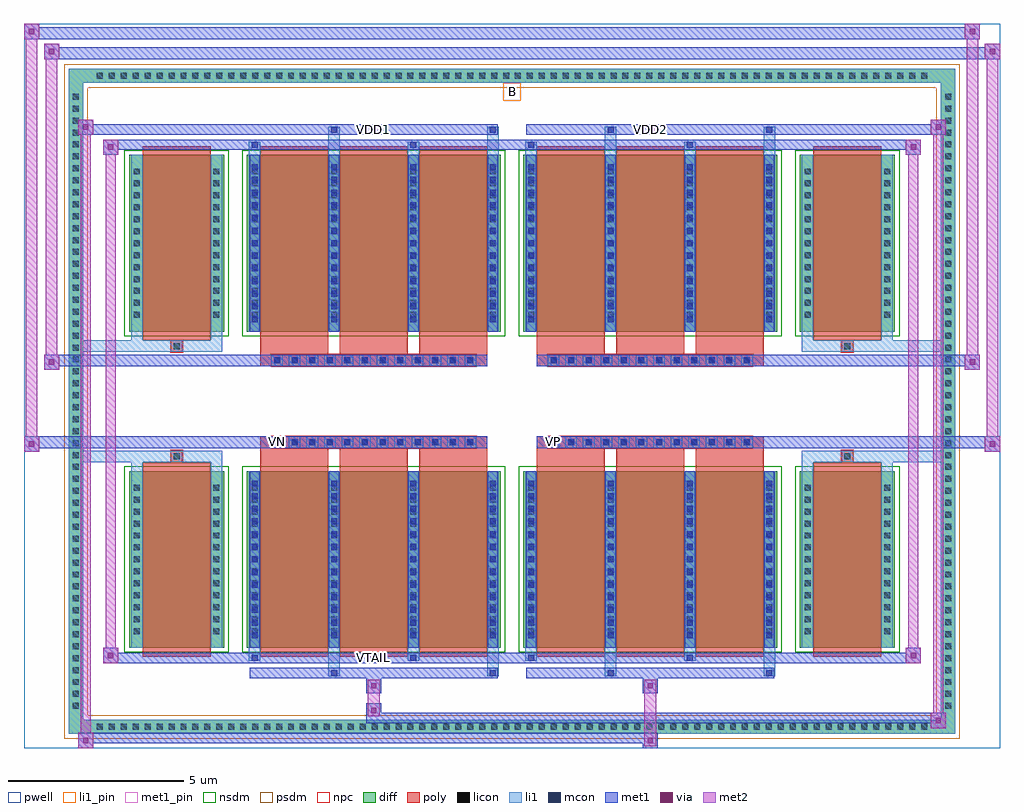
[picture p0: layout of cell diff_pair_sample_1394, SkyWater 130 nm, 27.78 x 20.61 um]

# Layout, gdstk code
import gdstk
lib = gdstk.Library(unit=1e-6, precision=5e-09)
def R(c, l, rs):  # rectangles x0, y0, x1, y1
    for r in rs: c.add(gdstk.rectangle(r[:2], r[2:], *l))
def A(c, l, x, y, w, h, nx, ny, dx, dy):  # array of equal rectangles
    R(c, l, [(x+i*dx, y+j*dy, x+i*dx+w, y+j*dy+h) for i in range(nx) for j in range(ny)])
def P(c, l, *ps):  # polygons
    for p in ps: c.add(gdstk.Polygon(p, *l))
pwell = (64, 44)
diff = (65, 20)
poly = (66, 20)
licon = (66, 44)
li1_pin = (67, 16)
li1 = (67, 20)
mcon = (67, 44)
met1_pin = (68, 16)
met1 = (68, 20)
via = (68, 44)
met2 = (69, 20)
nsdm = (93, 44)
psdm = (94, 20)
npc = (95, 20)

diff_pair_sample_1394 = lib.new_cell('diff_pair_sample_1394')
R(diff_pair_sample_1394, pwell, [(-13.89,-9.87,13.89,10.74), (-11.21,-8.06,-0.01,-0.8), (0.01,-8.06,11.21,-0.8), (-11.21,0.8,-0.01,8.06), (0.01,0.8,11.21,8.06)])
A(diff_pair_sample_1394, diff, -11.935, -9.47, 0.41, 0.41, 70, 2, 0.34, 18.53)
A(diff_pair_sample_1394, diff, -12.62, -8.875, 0.41, 0.41, 1, 52, 0, 0.34)
A(diff_pair_sample_1394, diff, 12.21, -8.875, 0.41, 0.41, 1, 52, 0, 0.34)
R(diff_pair_sample_1394, diff, [(-11.935,-9.47,11.935,-9.06), (-12.62,-8.875,-12.21,8.875), (12.21,-8.875,12.62,8.875), (-10.9,-7.015,-8.19,-1.985), (-7.55,-7.015,-0.32,-1.985), (0.32,-7.015,7.55,-1.985), (8.19,-7.015,10.9,-1.985), (-10.9,1.985,-8.19,7.015), (-7.55,1.985,-0.32,7.015), (0.32,1.985,7.55,7.015), (8.19,1.985,10.9,7.015), (-11.935,9.06,11.935,9.47)])
P(diff_pair_sample_1394, diff, [(12.62,9.47),(-12.62,9.47),(-12.62,-9.06),(-12.21,-9.06),(-12.21,9.06),(12.21,9.06),(12.21,-9.06),(-12.21,-9.06),(-12.62,-9.06),(-12.62,-9.47),(12.62,-9.47)])
A(diff_pair_sample_1394, poly, -7.16, -7.265, 1.93, 5.53, 3, 2, 2.26, 9)
A(diff_pair_sample_1394, poly, 0.71, -7.265, 1.93, 5.53, 3, 2, 2.26, 9)
A(diff_pair_sample_1394, poly, -7.16, -1.735, 1.93, 0.405, 3, 2, 2.26, 3.065)
A(diff_pair_sample_1394, poly, 0.71, -1.735, 1.93, 0.405, 3, 2, 2.26, 3.065)
A(diff_pair_sample_1394, poly, -6.85, -1.33, 0.33, 0.33, 12, 2, 0.5, 2.33)
A(diff_pair_sample_1394, poly, 1.02, -1.33, 0.33, 0.33, 12, 2, 0.5, 2.33)
R(diff_pair_sample_1394, poly, [(-10.51,-7.265,-8.58,-1.735), (8.58,-7.265,10.51,-1.735), (-9.71,-1.735,-9.38,-1.405), (-9.71,-1.735,-9.38,-1.405), (9.38,-1.735,9.71,-1.405), (9.38,-1.735,9.71,-1.405), (-7.16,-1.33,-0.71,-1), (0.71,-1.33,7.16,-1), (-7.16,1,-0.71,1.33), (0.71,1,7.16,1.33), (-9.71,1.405,-9.38,1.735), (-9.71,1.405,-9.38,1.735), (9.38,1.405,9.71,1.735), (9.38,1.405,9.71,1.735), (-10.51,1.735,-8.58,7.265), (8.58,1.735,10.51,7.265)])
A(diff_pair_sample_1394, licon, -11.815, -9.35, 0.17, 0.17, 70, 2, 0.34, 18.53)
A(diff_pair_sample_1394, licon, -12.5, -8.755, 0.17, 0.17, 1, 52, 0, 0.34)
A(diff_pair_sample_1394, licon, 12.33, -8.755, 0.17, 0.17, 1, 52, 0, 0.34)
A(diff_pair_sample_1394, licon, -10.76, -6.625, 0.17, 0.17, 1, 13, 0, 0.34)
A(diff_pair_sample_1394, licon, -8.5, -6.625, 0.17, 0.17, 1, 13, 0, 0.34)
A(diff_pair_sample_1394, licon, -7.41, -6.625, 0.17, 0.17, 4, 13, 2.26, 0.34)
A(diff_pair_sample_1394, licon, 0.46, -6.625, 0.17, 0.17, 4, 13, 2.26, 0.34)
A(diff_pair_sample_1394, licon, 8.33, -6.625, 0.17, 0.17, 1, 13, 0, 0.34)
A(diff_pair_sample_1394, licon, 10.59, -6.625, 0.17, 0.17, 1, 13, 0, 0.34)
A(diff_pair_sample_1394, licon, -6.77, -1.25, 0.17, 0.17, 12, 2, 0.5, 2.33)
A(diff_pair_sample_1394, licon, 1.1, -1.25, 0.17, 0.17, 12, 2, 0.5, 2.33)
A(diff_pair_sample_1394, licon, -10.76, 2.375, 0.17, 0.17, 1, 13, 0, 0.34)
A(diff_pair_sample_1394, licon, -8.5, 2.375, 0.17, 0.17, 1, 13, 0, 0.34)
A(diff_pair_sample_1394, licon, -7.41, 2.375, 0.17, 0.17, 4, 13, 2.26, 0.34)
A(diff_pair_sample_1394, licon, 0.46, 2.375, 0.17, 0.17, 4, 13, 2.26, 0.34)
A(diff_pair_sample_1394, licon, 8.33, 2.375, 0.17, 0.17, 1, 13, 0, 0.34)
A(diff_pair_sample_1394, licon, 10.59, 2.375, 0.17, 0.17, 1, 13, 0, 0.34)
R(diff_pair_sample_1394, licon, [(-9.63,-1.655,-9.46,-1.485), (9.46,-1.655,9.63,-1.485), (-9.63,1.485,-9.46,1.655), (9.46,1.485,9.63,1.655)])
R(diff_pair_sample_1394, li1_pin, [(-0.25,8.56,0.25,9.06)])
A(diff_pair_sample_1394, li1, -11.895, -9.43, 0.33, 0.33, 70, 2, 0.34, 18.53)
A(diff_pair_sample_1394, li1, -12.58, -8.835, 0.33, 0.33, 1, 52, 0, 0.34)
A(diff_pair_sample_1394, li1, 12.25, -8.835, 0.33, 0.33, 1, 52, 0, 0.34)
A(diff_pair_sample_1394, li1, -7.49, -7.015, 0.33, 5.03, 4, 2, 2.26, 9)
A(diff_pair_sample_1394, li1, 0.38, -7.015, 0.33, 5.03, 4, 2, 2.26, 9)
A(diff_pair_sample_1394, li1, -7.41, -6.745, 0.17, 0.17, 4, 13, 2.26, 0.36)
A(diff_pair_sample_1394, li1, -7.41, -6.745, 0.17, 4.49, 4, 2, 2.26, 9)
A(diff_pair_sample_1394, li1, 0.46, -6.745, 0.17, 0.17, 4, 13, 2.26, 0.36)
A(diff_pair_sample_1394, li1, 0.46, -6.745, 0.17, 4.49, 4, 2, 2.26, 9)
A(diff_pair_sample_1394, li1, -10.84, -6.705, 0.33, 0.33, 1, 13, 0, 0.34)
A(diff_pair_sample_1394, li1, -8.58, -6.705, 0.33, 0.33, 1, 13, 0, 0.34)
A(diff_pair_sample_1394, li1, -7.49, -6.705, 0.33, 0.33, 4, 13, 2.26, 0.34)
A(diff_pair_sample_1394, li1, 0.38, -6.705, 0.33, 0.33, 4, 13, 2.26, 0.34)
A(diff_pair_sample_1394, li1, 8.25, -6.705, 0.33, 0.33, 1, 13, 0, 0.34)
A(diff_pair_sample_1394, li1, 10.51, -6.705, 0.33, 0.33, 1, 13, 0, 0.34)
A(diff_pair_sample_1394, li1, -6.85, -1.33, 0.33, 0.33, 12, 2, 0.5, 2.33)
A(diff_pair_sample_1394, li1, 1.02, -1.33, 0.33, 0.33, 12, 2, 0.5, 2.33)
A(diff_pair_sample_1394, li1, -7.41, 2.255, 0.17, 0.17, 4, 13, 2.26, 0.36)
A(diff_pair_sample_1394, li1, 0.46, 2.255, 0.17, 0.17, 4, 13, 2.26, 0.36)
A(diff_pair_sample_1394, li1, -10.84, 2.295, 0.33, 0.33, 1, 13, 0, 0.34)
A(diff_pair_sample_1394, li1, -8.58, 2.295, 0.33, 0.33, 1, 13, 0, 0.34)
A(diff_pair_sample_1394, li1, -7.49, 2.295, 0.33, 0.33, 4, 13, 2.26, 0.34)
A(diff_pair_sample_1394, li1, 0.38, 2.295, 0.33, 0.33, 4, 13, 2.26, 0.34)
A(diff_pair_sample_1394, li1, 8.25, 2.295, 0.33, 0.33, 1, 13, 0, 0.34)
A(diff_pair_sample_1394, li1, 10.51, 2.295, 0.33, 0.33, 1, 13, 0, 0.34)
R(diff_pair_sample_1394, li1, [(-12.62,-9.47,-12.21,-9.06), (-12.62,-9.47,-12.21,-9.06), (-12.21,-9.47,12.21,-9.06), (12.21,-9.47,12.62,-9.06), (12.21,-9.47,12.62,-9.06), (-12.62,-9.06,-12.21,9.06), (12.21,-9.06,12.62,9.06), (-5.23,-7.82,-4.9,-7.015), (-5.15,-7.82,-4.98,-7.65), (-0.71,-7.82,-0.38,-7.015), (-0.63,-7.82,-0.46,-7.65), (2.64,-7.82,2.97,-7.015), (2.72,-7.82,2.89,-7.65), (7.16,-7.82,7.49,-7.015), (7.24,-7.82,7.41,-7.65), (-7.49,-7.39,-7.16,-7.015), (-7.41,-7.39,-7.24,-7.22), (-2.97,-7.39,-2.64,-7.015), (-2.89,-7.39,-2.72,-7.22), (0.38,-7.39,0.71,-7.015), (0.46,-7.39,0.63,-7.22), (4.9,-7.39,5.23,-7.015), (4.98,-7.39,5.15,-7.22), (-10.84,-7.015,-10.51,-1.985), (-8.58,-7.015,-8.25,-1.985), (8.25,-7.015,8.58,-1.985), (10.51,-7.015,10.84,-1.985), (-10.84,-1.985,-10.51,-1.405), (-8.58,-1.985,-8.25,-1.405), (8.25,-1.985,8.58,-1.405), (10.51,-1.985,10.84,-1.405), (-12.62,-1.735,-9.71,-1.405), (-10.84,-1.735,-9.71,-1.405), (-9.71,-1.735,-9.38,-1.405), (-9.38,-1.735,-8.25,-1.405), (8.25,-1.735,9.38,-1.405), (9.38,-1.735,9.71,-1.405), (9.38,-1.735,12.62,-1.405), (9.71,-1.735,10.84,-1.405), (-12.62,1.405,-9.71,1.735), (-10.84,1.405,-9.71,1.735), (-10.84,1.405,-10.51,1.985), (-9.71,1.405,-9.38,1.735), (-9.38,1.405,-8.25,1.735), (-8.58,1.405,-8.25,1.985), (8.25,1.405,9.38,1.735), (8.25,1.405,8.58,1.985), (9.38,1.405,9.71,1.735), (9.38,1.405,12.62,1.735), (9.71,1.405,10.84,1.735), (10.51,1.405,10.84,1.985), (-10.84,1.985,-10.51,7.015), (-8.58,1.985,-8.25,7.015), (8.25,1.985,8.58,7.015), (10.51,1.985,10.84,7.015), (-7.49,7.015,-7.16,7.39), (-5.23,7.015,-4.9,7.82), (-2.97,7.015,-2.64,7.39), (-0.71,7.015,-0.38,7.82), (0.38,7.015,0.71,7.39), (2.64,7.015,2.97,7.82), (4.9,7.015,5.23,7.39), (7.16,7.015,7.49,7.82), (-7.41,7.22,-7.24,7.39), (-2.89,7.22,-2.72,7.39), (0.46,7.22,0.63,7.39), (4.98,7.22,5.15,7.39), (-5.15,7.65,-4.98,7.82), (-0.63,7.65,-0.46,7.82), (2.72,7.65,2.89,7.82), (7.24,7.65,7.41,7.82), (-12.62,9.06,-12.21,9.47), (-12.62,9.06,-12.21,9.47), (-12.21,9.06,12.21,9.47), (12.21,9.06,12.62,9.47), (12.21,9.06,12.62,9.47)])
A(diff_pair_sample_1394, mcon, -7.41, -6.745, 0.17, 0.17, 4, 13, 2.26, 0.36)
A(diff_pair_sample_1394, mcon, 0.46, -6.745, 0.17, 0.17, 4, 13, 2.26, 0.36)
A(diff_pair_sample_1394, mcon, -6.77, -1.25, 0.17, 0.17, 12, 2, 0.5, 2.33)
A(diff_pair_sample_1394, mcon, 1.1, -1.25, 0.17, 0.17, 12, 2, 0.5, 2.33)
A(diff_pair_sample_1394, mcon, -7.41, 2.255, 0.17, 0.17, 4, 13, 2.26, 0.36)
A(diff_pair_sample_1394, mcon, 0.46, 2.255, 0.17, 0.17, 4, 13, 2.26, 0.36)
R(diff_pair_sample_1394, mcon, [(-5.15,-7.82,-4.98,-7.65), (-0.63,-7.82,-0.46,-7.65), (2.72,-7.82,2.89,-7.65), (7.24,-7.82,7.41,-7.65), (-7.41,-7.39,-7.24,-7.22), (-2.89,-7.39,-2.72,-7.22), (0.46,-7.39,0.63,-7.22), (4.98,-7.39,5.15,-7.22), (-7.41,7.22,-7.24,7.39), (-2.89,7.22,-2.72,7.39), (0.46,7.22,0.63,7.39), (4.98,7.22,5.15,7.39), (-5.15,7.65,-4.98,7.82), (-0.63,7.65,-0.46,7.82), (2.72,7.65,2.89,7.82), (7.24,7.65,7.41,7.82)])
R(diff_pair_sample_1394, met1_pin, [(-4.07,-7.43,-3.8,-7.16), (-6.82,-1.29,-6.55,-1.02), (1.05,-1.29,1.32,-1.02), (-4.07,7.61,-3.8,7.88), (3.8,7.61,4.07,7.88)])
A(diff_pair_sample_1394, met1, -7.47, -7.015, 0.29, 5.03, 4, 2, 2.26, 9)
A(diff_pair_sample_1394, met1, 0.4, -7.015, 0.29, 5.03, 4, 2, 2.26, 9)
A(diff_pair_sample_1394, met1, -7.47, -6.805, 0.29, 0.29, 4, 13, 2.26, 0.36)
A(diff_pair_sample_1394, met1, 0.4, -6.805, 0.29, 0.29, 4, 13, 2.26, 0.36)
A(diff_pair_sample_1394, met1, -6.83, -1.31, 0.29, 0.29, 12, 2, 0.5, 2.33)
A(diff_pair_sample_1394, met1, 1.04, -1.31, 0.29, 0.29, 12, 2, 0.5, 2.33)
A(diff_pair_sample_1394, met1, -7.47, 2.195, 0.29, 0.29, 4, 13, 2.26, 0.36)
A(diff_pair_sample_1394, met1, 0.4, 2.195, 0.29, 0.29, 4, 13, 2.26, 0.36)
R(diff_pair_sample_1394, met1, [(-12.35,-9.87,-11.92,-9.44), (3.72,-9.87,4.15,-9.44), (-12.35,-9.73,4.15,-9.44), (11.92,-9.3,12.35,-8.87), (-4.15,-9.16,12.35,-8.87), (-4.15,-9.02,-3.72,-8.59), (-4.15,-8.31,-3.72,-7.88), (3.72,-8.31,4.15,-7.88), (-7.47,-7.88,-0.4,-7.59), (-5.21,-7.88,-4.92,-7.59), (-0.69,-7.88,-0.4,-7.59), (0.4,-7.88,7.47,-7.59), (2.66,-7.88,2.95,-7.59), (7.18,-7.88,7.47,-7.59), (-11.64,-7.45,-11.21,-7.02), (-11.64,-7.45,-7.47,-7.16), (-7.47,-7.45,-7.18,-7.16), (-7.47,-7.45,-0.4,-7.16), (-2.95,-7.45,-2.66,-7.16), (-0.4,-7.45,0.4,-7.16), (0.4,-7.45,0.69,-7.16), (0.4,-7.45,7.47,-7.16), (4.92,-7.45,5.21,-7.16), (7.47,-7.45,11.64,-7.16), (11.21,-7.45,11.64,-7.02), (-13.89,-1.43,-13.46,-1), (13.46,-1.43,13.89,-1), (-13.89,-1.33,-0.71,-1), (-7.16,-1.33,-0.71,-1), (0.71,-1.33,7.16,-1), (0.71,-1.33,13.89,-1), (-13.32,0.9,-12.89,1.33), (12.89,0.9,13.32,1.33), (-13.32,1,-7.16,1.33), (-7.16,1,-0.71,1.33), (0.71,1,7.16,1.33), (7.16,1,13.32,1.33), (-11.64,7.02,-11.21,7.45), (11.21,7.02,11.64,7.45), (-11.64,7.16,-7.47,7.45), (-7.47,7.16,-7.18,7.45), (-7.47,7.16,-0.4,7.45), (-2.95,7.16,-2.66,7.45), (-0.4,7.16,0.4,7.45), (0.4,7.16,0.69,7.45), (0.4,7.16,7.47,7.45), (4.92,7.16,5.21,7.45), (7.47,7.16,11.64,7.45), (-12.35,7.59,-11.92,8.02), (-12.35,7.59,-7.47,7.88), (-7.47,7.59,-0.4,7.88), (-5.21,7.59,-4.92,7.88), (-0.69,7.59,-0.4,7.88), (0.4,7.59,7.47,7.88), (2.66,7.59,2.95,7.88), (7.18,7.59,7.47,7.88), (7.47,7.59,12.35,7.88), (11.92,7.59,12.35,8.02), (-13.32,9.74,-12.89,10.17), (-13.32,9.74,-11.21,10.07), (-11.21,9.74,11.21,10.07), (11.21,9.74,13.89,10.07), (13.46,9.74,13.89,10.17), (-13.89,10.31,-13.46,10.74), (-13.89,10.31,-11.21,10.64), (-11.21,10.31,11.21,10.64), (11.21,10.31,13.32,10.64), (12.89,10.31,13.32,10.74)])
R(diff_pair_sample_1394, via, [(-12.21,-9.73,-12.06,-9.58), (3.86,-9.73,4.01,-9.58), (12.06,-9.16,12.21,-9.01), (-4.01,-8.88,-3.86,-8.73), (-4.01,-8.17,-3.86,-8.02), (3.86,-8.17,4.01,-8.02), (-11.5,-7.31,-11.35,-7.16), (11.35,-7.31,11.5,-7.16), (-13.75,-1.29,-13.6,-1.14), (13.6,-1.29,13.75,-1.14), (-13.18,1.04,-13.03,1.19), (13.03,1.04,13.18,1.19), (-11.5,7.16,-11.35,7.31), (11.35,7.16,11.5,7.31), (-12.21,7.73,-12.06,7.88), (12.06,7.73,12.21,7.88), (-13.18,9.88,-13.03,10.03), (13.6,9.88,13.75,10.03), (-13.75,10.45,-13.6,10.6), (13.03,10.45,13.18,10.6)])
R(diff_pair_sample_1394, met2, [(-12.35,-9.87,-11.92,-9.44), (-12.28,-9.87,-11.99,8.02), (-11.99,-9.87,-11.92,-9.44), (-12.3,-9.82,-11.97,-9.49), (3.77,-9.82,4.1,-9.49), (3.77,-9.49,4.1,-8.26), (11.92,-9.3,12.35,-8.87), (11.99,-9.3,12.28,8.02), (12.28,-9.3,12.35,-8.87), (11.97,-9.25,12.3,-8.92), (-4.1,-8.97,-3.77,-8.64), (-4.1,-8.64,-3.77,-8.26), (-4.1,-8.26,-3.77,-7.93), (3.77,-8.26,4.1,-7.93), (-11.64,-7.45,-11.21,-7.02), (-11.57,-7.45,-11.28,7.45), (-11.28,-7.45,-11.21,-7.02), (11.21,-7.45,11.64,-7.02), (11.28,-7.45,11.57,7.45), (11.57,-7.45,11.64,-7.02), (-11.59,-7.4,-11.26,-7.07), (11.26,-7.4,11.59,-7.07), (-13.89,-1.43,-13.46,-1), (-13.84,-1.43,-13.51,10.74), (-13.51,-1.43,-13.46,-1), (13.46,-1.43,13.89,-1), (13.51,-1.43,13.84,10.17), (13.84,-1.43,13.89,-1), (-13.84,-1.38,-13.51,-1.05), (13.51,-1.38,13.84,-1.05), (-13.32,0.9,-12.89,1.33), (-13.27,0.9,-12.94,10.17), (-12.94,0.9,-12.89,1.33), (12.89,0.9,13.32,1.33), (12.94,0.9,13.27,10.74), (13.27,0.9,13.32,1.33), (-13.27,0.95,-12.94,1.28), (12.94,0.95,13.27,1.28), (-11.64,7.02,-11.21,7.45), (-11.28,7.02,-11.21,7.45), (11.21,7.02,11.64,7.45), (11.57,7.02,11.64,7.45), (-11.59,7.07,-11.26,7.4), (11.26,7.07,11.59,7.4), (-12.35,7.59,-11.92,8.02), (-11.99,7.59,-11.92,8.02), (11.92,7.59,12.35,8.02), (12.28,7.59,12.35,8.02), (-12.3,7.64,-11.97,7.97), (11.97,7.64,12.3,7.97), (-13.32,9.74,-12.89,10.17), (-12.94,9.74,-12.89,10.17), (13.46,9.74,13.89,10.17), (13.84,9.74,13.89,10.17), (-13.27,9.79,-12.94,10.12), (13.51,9.79,13.84,10.12), (-13.89,10.31,-13.46,10.74), (-13.51,10.31,-13.46,10.74), (12.89,10.31,13.32,10.74), (13.27,10.31,13.32,10.74), (-13.84,10.36,-13.51,10.69), (12.94,10.36,13.27,10.69)])
R(diff_pair_sample_1394, nsdm, [(-11.03,-7.145,-8.06,-1.855), (-7.68,-7.145,-0.19,-1.855), (0.19,-7.145,7.68,-1.855), (8.06,-7.145,11.03,-1.855), (-11.03,1.855,-8.06,7.145), (-7.68,1.855,-0.19,7.145), (0.19,1.855,7.68,7.145), (8.06,1.855,11.03,7.145)])
P(diff_pair_sample_1394, psdm, [(12.75,9.6),(-12.75,9.6),(-12.75,-8.93),(-12.08,-8.93),(-12.08,8.93),(12.08,8.93),(12.08,-8.93),(-12.08,-8.93),(-12.75,-8.93),(-12.75,-9.6),(12.75,-9.6)])
A(diff_pair_sample_1394, npc, -6.87, -1.35, 0.37, 0.37, 12, 2, 0.5, 2.33)
A(diff_pair_sample_1394, npc, 1, -1.35, 0.37, 0.37, 12, 2, 0.5, 2.33)
R(diff_pair_sample_1394, npc, [(-9.73,-1.755,-9.36,-1.385), (9.36,-1.755,9.73,-1.385), (-6.87,-1.35,-6,-0.98), (-6.87,-1.35,-6,-0.98), (-6.37,-1.35,-5.5,-0.98), (-6.37,-1.35,-5.5,-0.98), (-5.87,-1.35,-5,-0.98), (-5.87,-1.35,-5,-0.98), (-5.37,-1.35,-4.5,-0.98), (-5.37,-1.35,-4.5,-0.98), (-4.87,-1.35,-4,-0.98), (-4.87,-1.35,-4,-0.98), (-4.37,-1.35,-3.5,-0.98), (-4.37,-1.35,-3.5,-0.98), (-3.87,-1.35,-3,-0.98), (-3.87,-1.35,-3,-0.98), (-3.37,-1.35,-2.5,-0.98), (-3.37,-1.35,-2.5,-0.98), (-2.87,-1.35,-2,-0.98), (-2.87,-1.35,-2,-0.98), (-2.37,-1.35,-1.5,-0.98), (-2.37,-1.35,-1.5,-0.98), (-1.87,-1.35,-1,-0.98), (-1.87,-1.35,-1,-0.98), (1,-1.35,1.87,-0.98), (1,-1.35,1.87,-0.98), (1.5,-1.35,2.37,-0.98), (1.5,-1.35,2.37,-0.98), (2,-1.35,2.87,-0.98), (2,-1.35,2.87,-0.98), (2.5,-1.35,3.37,-0.98), (2.5,-1.35,3.37,-0.98), (3,-1.35,3.87,-0.98), (3,-1.35,3.87,-0.98), (3.5,-1.35,4.37,-0.98), (3.5,-1.35,4.37,-0.98), (4,-1.35,4.87,-0.98), (4,-1.35,4.87,-0.98), (4.5,-1.35,5.37,-0.98), (4.5,-1.35,5.37,-0.98), (5,-1.35,5.87,-0.98), (5,-1.35,5.87,-0.98), (5.5,-1.35,6.37,-0.98), (5.5,-1.35,6.37,-0.98), (6,-1.35,6.87,-0.98), (6,-1.35,6.87,-0.98), (-6.87,0.98,-6,1.35), (-6.87,0.98,-6,1.35), (-6.37,0.98,-5.5,1.35), (-6.37,0.98,-5.5,1.35), (-5.87,0.98,-5,1.35), (-5.87,0.98,-5,1.35), (-5.37,0.98,-4.5,1.35), (-5.37,0.98,-4.5,1.35), (-4.87,0.98,-4,1.35), (-4.87,0.98,-4,1.35), (-4.37,0.98,-3.5,1.35), (-4.37,0.98,-3.5,1.35), (-3.87,0.98,-3,1.35), (-3.87,0.98,-3,1.35), (-3.37,0.98,-2.5,1.35), (-3.37,0.98,-2.5,1.35), (-2.87,0.98,-2,1.35), (-2.87,0.98,-2,1.35), (-2.37,0.98,-1.5,1.35), (-2.37,0.98,-1.5,1.35), (-1.87,0.98,-1,1.35), (-1.87,0.98,-1,1.35), (1,0.98,1.87,1.35), (1,0.98,1.87,1.35), (1.5,0.98,2.37,1.35), (1.5,0.98,2.37,1.35), (2,0.98,2.87,1.35), (2,0.98,2.87,1.35), (2.5,0.98,3.37,1.35), (2.5,0.98,3.37,1.35), (3,0.98,3.87,1.35), (3,0.98,3.87,1.35), (3.5,0.98,4.37,1.35), (3.5,0.98,4.37,1.35), (4,0.98,4.87,1.35), (4,0.98,4.87,1.35), (4.5,0.98,5.37,1.35), (4.5,0.98,5.37,1.35), (5,0.98,5.87,1.35), (5,0.98,5.87,1.35), (5.5,0.98,6.37,1.35), (5.5,0.98,6.37,1.35), (6,0.98,6.87,1.35), (6,0.98,6.87,1.35), (-9.73,1.385,-9.36,1.755), (9.36,1.385,9.73,1.755)])
diff_pair_sample_1394.add(gdstk.Label('VTAIL', (-3.935,-7.295), layer=68, texttype=5))
diff_pair_sample_1394.add(gdstk.Label('VN', (-6.685,-1.155), layer=68, texttype=5))
diff_pair_sample_1394.add(gdstk.Label('VP', (1.185,-1.155), layer=68, texttype=5))
diff_pair_sample_1394.add(gdstk.Label('B', (0,8.81), layer=67, texttype=5))
diff_pair_sample_1394.add(gdstk.Label('VDD2', (3.935,7.745), layer=68, texttype=5))
diff_pair_sample_1394.add(gdstk.Label('VDD1', (-3.935,7.745), layer=68, texttype=5))

lib.write_gds('diff_pair_sample_1394.gds')
